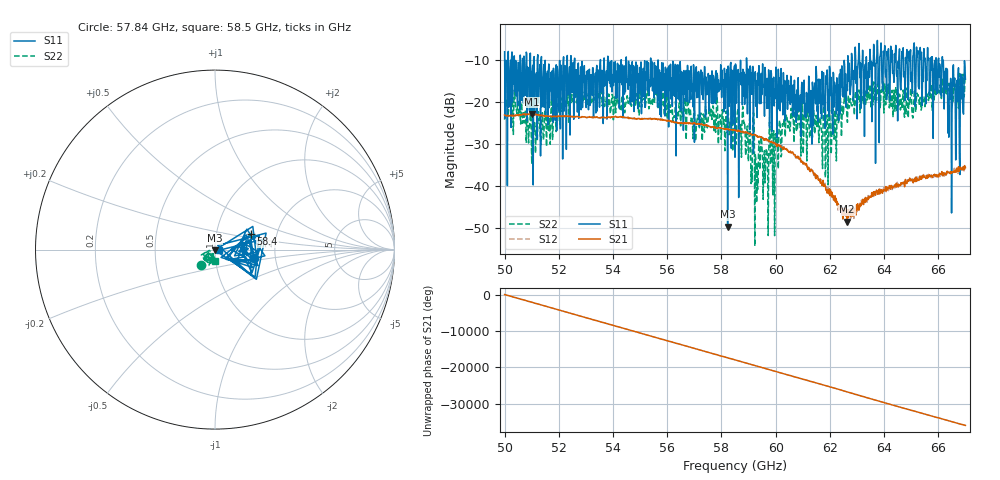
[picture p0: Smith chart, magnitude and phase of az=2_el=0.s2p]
!Created with skrf (http://scikit-rf.org).
# GHz S RI R 50.0
!freq ReS11 ImS11 ReS21 ImS21 ReS12 ImS12 ReS22 ImS22
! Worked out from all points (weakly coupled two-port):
!   1001 points, 50 GHz to 67 GHz, reference 50 ohm
!   highest |S21| = -22.76 dB at 51 GHz (marker M1); lowest = -48.5 dB at 62.63 GHz (marker M2)
!   lowest |S11| = -49.7 dB at 58.23 GHz (marker M3), VSWR 1.01, Z = 49.9 - j0.312 ohm
!   |S11| at or under -10 dB: 52.58 GHz to 53.53 GHz (949.1 MHz wide, 1.79 % of centre); 55.66 GHz to 58.7 GHz (3.042 GHz wide, 5.32 % of centre); 58.93 GHz to 62.66 GHz (3.734 GHz wide, 6.14 % of centre) (the widest 3 of 62)
!   |S22| runs from -54.4 to -13.1 dB; largest |S21 - S12| = 0.0023
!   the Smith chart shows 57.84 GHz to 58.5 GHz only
!   S11 on the Smith chart (normalised r, x): 57.84 GHz: 1.55, -0.14; 58.4 GHz: 1.48, +0.27; 58.5 GHz: 1.04, -0.01
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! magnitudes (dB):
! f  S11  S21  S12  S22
! 50 GHz  -7.9  -23.0  -23.1  -24.2
! 50.15 GHz  -21.2  -23.3  -23.2  -21.3
! 51 GHz  -12.8  -22.8  -22.7  -34.7
! 52.84 GHz  -12.0  -23.5  -23.5  -19.1
! 55.68 GHz  -13.3  -24.1  -24.0  -21.1
! 57.84 GHz  -13.1  -26.2  -26.2  -18.7
! 58.23 GHz  -49.7  -26.5  -26.3  -23.5
! 58.4 GHz  -13.2  -26.6  -26.5  -26.0
! 58.5 GHz  -33.1  -26.6  -26.7  -23.6
! 59.11 GHz  -13.0  -27.8  -27.7  -35.2
! 59.32 GHz  -23.6  -28.0  -28.1  -34.4
! 59.44 GHz  -13.9  -28.2  -28.2  -32.4
! 60.34 GHz  -14.8  -31.2  -31.3  -25.6
! 61.34 GHz  -30.0  -36.4  -36.3  -27.1
! 61.88 GHz  -15.7  -40.8  -41.0  -24.1
! 62.63 GHz  -15.8  -48.5  -45.9  -23.1
! 64.18 GHz  -11.7  -40.2  -40.5  -17.3
! 66.1 GHz  -14.0  -37.2  -37.5  -18.1
! 66.44 GHz  -19.3  -37.0  -36.9  -16.5
! 66.61 GHz  -14.2  -36.7  -36.7  -17.0
! 66.86 GHz  -19.1  -35.7  -36.0  -16.7
! 67 GHz  -14.5  -35.6  -35.2  -14.5
